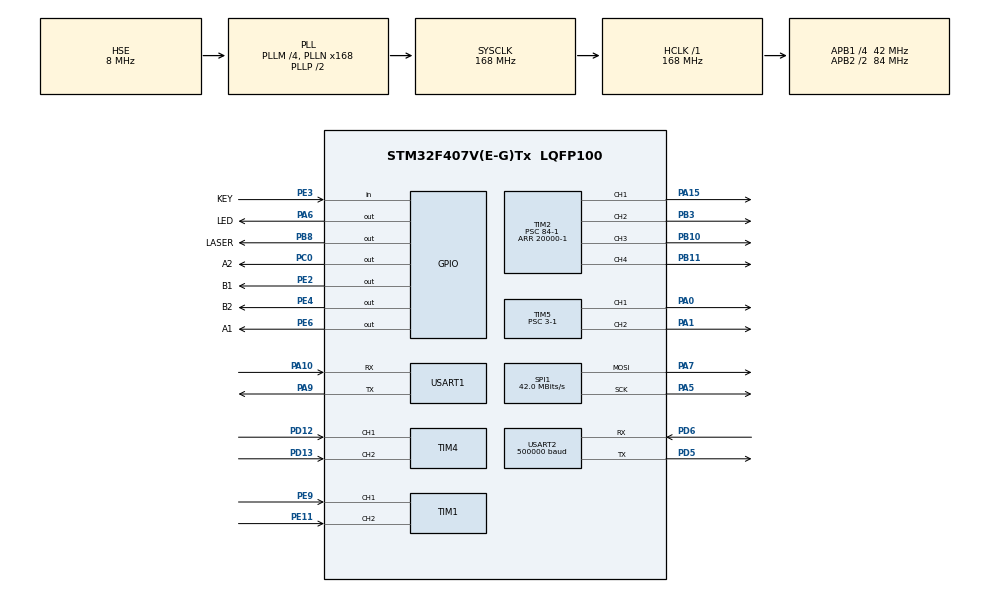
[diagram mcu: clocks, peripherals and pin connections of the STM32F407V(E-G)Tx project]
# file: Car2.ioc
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Dma.Request0=USART1_RX
Dma.Request1=USART1_TX
Dma.Request2=USART2_RX
Dma.Request3=USART2_TX
Dma.USART1_RX.0.Direction=DMA_PERIPH_TO_MEMORY
Dma.USART1_RX.0.FIFOMode=DMA_FIFOMODE_DISABLE
Dma.USART1_RX.0.Instance=DMA2_Stream2
Dma.USART1_RX.0.MemDataAlignment=DMA_MDATAALIGN_BYTE
Dma.USART1_RX.0.MemInc=DMA_MINC_ENABLE
Dma.USART1_RX.0.Mode=DMA_NORMAL
Dma.USART1_RX.0.PeriphDataAlignment=DMA_PDATAALIGN_BYTE
Dma.USART1_RX.0.PeriphInc=DMA_PINC_DISABLE
Dma.USART1_RX.0.Priority=DMA_PRIORITY_LOW
Dma.USART1_TX.1.Direction=DMA_MEMORY_TO_PERIPH
Dma.USART1_TX.1.FIFOMode=DMA_FIFOMODE_DISABLE
Dma.USART1_TX.1.Instance=DMA2_Stream7
Dma.USART1_TX.1.MemDataAlignment=DMA_MDATAALIGN_BYTE
Dma.USART1_TX.1.MemInc=DMA_MINC_ENABLE
Dma.USART1_TX.1.Mode=DMA_NORMAL
Dma.USART1_TX.1.PeriphDataAlignment=DMA_PDATAALIGN_BYTE
Dma.USART1_TX.1.PeriphInc=DMA_PINC_DISABLE
Dma.USART1_TX.1.Priority=DMA_PRIORITY_LOW
Dma.USART2_RX.2.Direction=DMA_PERIPH_TO_MEMORY
Dma.USART2_RX.2.FIFOMode=DMA_FIFOMODE_DISABLE
Dma.USART2_RX.2.Instance=DMA1_Stream5
Dma.USART2_RX.2.MemDataAlignment=DMA_MDATAALIGN_BYTE
Dma.USART2_RX.2.MemInc=DMA_MINC_ENABLE
Dma.USART2_RX.2.Mode=DMA_NORMAL
Dma.USART2_RX.2.PeriphDataAlignment=DMA_PDATAALIGN_BYTE
Dma.USART2_RX.2.PeriphInc=DMA_PINC_DISABLE
Dma.USART2_RX.2.Priority=DMA_PRIORITY_LOW
Dma.USART2_TX.3.Direction=DMA_MEMORY_TO_PERIPH
Dma.USART2_TX.3.FIFOMode=DMA_FIFOMODE_DISABLE
Dma.USART2_TX.3.Instance=DMA1_Stream6
Dma.USART2_TX.3.MemDataAlignment=DMA_MDATAALIGN_BYTE
Dma.USART2_TX.3.MemInc=DMA_MINC_ENABLE
Dma.USART2_TX.3.Mode=DMA_NORMAL
Dma.USART2_TX.3.PeriphDataAlignment=DMA_PDATAALIGN_BYTE
Dma.USART2_TX.3.PeriphInc=DMA_PINC_DISABLE
Dma.USART2_TX.3.Priority=DMA_PRIORITY_LOW
Mcu.Family=STM32F4
Mcu.Name=STM32F407V(E-G)Tx
Mcu.Package=LQFP100
NVIC.DMA1_Stream5_IRQn=true\:0\:0\:false\:false\:true\:false\:true\:true
NVIC.DMA1_Stream6_IRQn=true\:0\:0\:false\:false\:true\:false\:true\:true
NVIC.DMA2_Stream2_IRQn=true\:1\:0\:true\:false\:true\:false\:true\:true
NVIC.DMA2_Stream7_IRQn=true\:1\:0\:true\:false\:true\:false\:true\:true
NVIC.PriorityGroup=NVIC_PRIORITYGROUP_4
NVIC.TIM8_TRG_COM_TIM14_IRQn=true\:0\:0\:false\:false\:true\:true\:true\:true
NVIC.USART1_IRQn=true\:2\:0\:true\:false\:true\:true\:true\:true
NVIC.USART2_IRQn=true\:0\:0\:false\:false\:true\:true\:true\:true
PA0-WKUP.Signal=S_TIM5_CH1
PA1.Signal=S_TIM5_CH2
PA10.Mode=Asynchronous
PA10.Signal=USART1_RX
PA13.Mode=Serial_Wire
PA13.Signal=SYS_JTMS-SWDIO
PA14.Mode=Serial_Wire
PA14.Signal=SYS_JTCK-SWCLK
PA15.Signal=S_TIM2_CH1_ETR
PA5.Mode=TX_Only_Simplex_Unidirect_Master
PA5.Signal=SPI1_SCK
PA6.GPIO_Label=LED
PA6.GPIO_ModeDefaultOutputPP=GPIO_MODE_OUTPUT_PP
PA6.GPIO_PuPd=GPIO_NOPULL
PA6.PinState=GPIO_PIN_RESET
PA6.Signal=GPIO_Output
PA7.Mode=TX_Only_Simplex_Unidirect_Master
PA7.Signal=SPI1_MOSI
PA9.Mode=Asynchronous
PA9.Signal=USART1_TX
PB10.Signal=S_TIM2_CH3
PB11.Signal=S_TIM2_CH4
PB3.Signal=S_TIM2_CH2
PB8.GPIO_Label=LASER
PB8.Signal=GPIO_Output
PC0.GPIO_Label=A2
PC0.Signal=GPIO_Output
PD12.Signal=S_TIM4_CH1
PD13.Signal=S_TIM4_CH2
PD5.Mode=Asynchronous
PD5.Signal=USART2_TX
PD6.Mode=Asynchronous
PD6.Signal=USART2_RX
PE11.Signal=S_TIM1_CH2
PE2.GPIO_Label=B1
PE2.Signal=GPIO_Output
PE3.GPIO_Label=KEY
PE3.GPIO_PuPd=GPIO_PULLUP
PE3.Signal=GPIO_Input
PE4.GPIO_Label=B2
PE4.Signal=GPIO_Output
PE6.GPIO_Label=A1
PE6.Signal=GPIO_Output
PE9.Signal=S_TIM1_CH1
PH0-OSC_IN.Mode=HSE-External-Oscillator
PH0-OSC_IN.Signal=RCC_OSC_IN
PH1-OSC_OUT.Mode=HSE-External-Oscillator
PH1-OSC_OUT.Signal=RCC_OSC_OUT
ProjectManager.HeapSize=0x400
ProjectManager.StackSize=0x800
ProjectManager.TargetToolchain=MDK-ARM V5.32
RCC.48MHZClocksFreq_Value=48000000
RCC.AHBFreq_Value=168000000
RCC.APB1CLKDivider=RCC_HCLK_DIV4
RCC.APB1Freq_Value=42000000
RCC.APB1TimFreq_Value=84000000
RCC.APB2CLKDivider=RCC_HCLK_DIV2
RCC.APB2Freq_Value=84000000
RCC.APB2TimFreq_Value=168000000
RCC.CortexFreq_Value=168000000
RCC.HCLKFreq_Value=168000000
RCC.HSE_VALUE=8000000
RCC.HSI_VALUE=16000000
RCC.LSE_VALUE=32768
RCC.PLLM=4
RCC.PLLN=168
RCC.PLLQ=7
RCC.PLLSourceVirtual=RCC_PLLSOURCE_HSE
RCC.SYSCLKFreq_VALUE=168000000
RCC.SYSCLKSource=RCC_SYSCLKSOURCE_PLLCLK
RCC.VCOOutputFreq_Value=336000000
SH.S_TIM1_CH1.0=TIM1_CH1,Encoder_Interface
SH.S_TIM1_CH2.0=TIM1_CH2,Encoder_Interface
SH.S_TIM2_CH1_ETR.0=TIM2_CH1,PWM Generation1 CH1
SH.S_TIM2_CH2.0=TIM2_CH2,PWM Generation2 CH2
SH.S_TIM2_CH3.0=TIM2_CH3,PWM Generation3 CH3
SH.S_TIM2_CH4.0=TIM2_CH4,PWM Generation4 CH4
SH.S_TIM4_CH1.0=TIM4_CH1,Encoder_Interface
SH.S_TIM4_CH2.0=TIM4_CH2,Encoder_Interface
SH.S_TIM5_CH1.0=TIM5_CH1,PWM Generation1 CH1
SH.S_TIM5_CH2.0=TIM5_CH2,PWM Generation2 CH2
SPI1.BaudRatePrescaler=SPI_BAUDRATEPRESCALER_2
SPI1.CalculateBaudRate=42.0 MBits/s
SPI1.Direction=SPI_DIRECTION_2LINES
SPI1.Mode=SPI_MODE_MASTER
SPI1.VirtualType=VM_MASTER
TIM14.Period=1000-1
TIM14.Prescaler=84-1
TIM2.Channel-PWM\ Generation1\ CH1=TIM_CHANNEL_1
TIM2.Channel-PWM\ Generation2\ CH2=TIM_CHANNEL_2
TIM2.Channel-PWM\ Generation3\ CH3=TIM_CHANNEL_3
TIM2.Channel-PWM\ Generation4\ CH4=TIM_CHANNEL_4
TIM2.Period=20000-1
TIM2.Prescaler=84-1
TIM5.Channel-PWM\ Generation1\ CH1=TIM_CHANNEL_1
TIM5.Channel-PWM\ Generation2\ CH2=TIM_CHANNEL_2
TIM5.Period=2000-1
TIM5.Prescaler=3-1
USART1.VirtualMode=VM_ASYNC
USART2.BaudRate=500000
USART2.VirtualMode=VM_ASYNC
VP_TIM14_VS_ClockSourceINT.Mode=Enable_Timer
VP_TIM2_VS_ClockSourceINT.Mode=Internal
VP_TIM5_VS_ClockSourceINT.Mode=Internal
board=custom

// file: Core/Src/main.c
/* USER CODE BEGIN Header */
/**
 ******************************************************************************
 * @file           : main.c
 * @brief          : Main program body
 ******************************************************************************
 * @attention
 *
 * Copyright (c) 2023 STMicroelectronics.
 * All rights reserved.
 *
 * This software is licensed under terms that can be found in the LICENSE file
 * in the root directory of this software component.
 * If no LICENSE file comes with this software, it is provided AS-IS.
 *
 ******************************************************************************
 */
/* USER CODE END Header */
#include "main.h"

#include "dma.h"
#include "gpio.h"
#include "spi.h"
#include "tim.h"
#include "usart.h"

/* USER CODE BEGIN Includes */
#include "User_Com.h"
#include "Wireless_Com.h"
#include "key.h"
#include "led.h"
#include "log.h"
#include "motor.h"
#include "perf_counter.h"
#include "pid.h"
#include "scheduler.h"
#include "stdlib.h"
#include "uart_pack.h"

/* USER CODE END Includes */

void SystemClock_Config(void);
/* USER CODE BEGIN PFP */
void Add_Tasks(void);
void Uart_Callback(char *buf, uint16_t len);
void Uart2_Callback(char *buf, uint16_t len);

/* USER CODE END PFP */

/* USER CODE BEGIN 0 */
uart_dma_ctrl_t uart;
uart_dma_ctrl_t uart2;

motor_t motor_l = {
    .timEncoder = &htim4,
    .timPWM = &htim5,
    .pwmChannel = TIM_CHANNEL_2,
    .forwardGPIOx = B2_GPIO_Port,
    .forwardGPIOpin = B2_Pin,
    .reverseGPIOx = A2_GPIO_Port,
    .reverseGPIOpin = A2_Pin,
    .encoderReverse = 1,
    .spdPID =
        {
            .base = 0,
            .proportion = 0.4,
            .integral = 4,
            .derivative = 0,
            .Ts = 0.01,
        },
    .posPID =
        {
            .base = 0,
            .proportion = 3,
            .integral = 0,
            .derivative = 0.1,
            .Ts = 0.01,
        },
};

motor_t motor_r = {
    .timEncoder = &htim1,
    .timPWM = &htim5,
    .pwmChannel = TIM_CHANNEL_1,
    .forwardGPIOx = A1_GPIO_Port,
    .forwardGPIOpin = A1_Pin,
    .reverseGPIOx = B1_GPIO_Port,
    .reverseGPIOpin = B1_Pin,
    .encoderReverse = 0,
    .spdPID =
        {
            .base = 0,
            .proportion = 0.4,
            .integral = 4,
            .derivative = 0,
            .Ts = 0.01,
        },
    .posPID =
        {
            .base = 0,
            .proportion = 3,
            .integral = 0,
            .derivative = 0.1,
            .Ts = 0.01,
        },
};

const uint32_t FORWARD_MIDVALUE = 1400;

/* USER CODE END 0 */

int main(void) {

  /* MCU Configuration--------------------------------------------------------*/

  /* Reset of all peripherals, Initializes the Flash interface and the Systick.
   */
  HAL_Init();

  /* Configure the system clock */
  SystemClock_Config();

  /* Initialize all configured peripherals */
  MX_GPIO_Init();
  MX_DMA_Init();
  MX_SPI1_Init();
  MX_TIM1_Init();
  MX_USART1_UART_Init();
  MX_USART2_UART_Init();
  MX_TIM2_Init();
  MX_TIM4_Init();
  MX_TIM5_Init();
  MX_TIM14_Init();
  /* USER CODE BEGIN 2 */
  LED(1);
  Init_Module_Timebase();
  Uart_DMA_Init(&uart, &huart1, Uart_Callback, 1);
  Uart_DMA_Init(&uart2, &huart2, Uart2_Callback, 1);
  Motor_Setup(&motor_l);
  Motor_Setup(&motor_r);
  LED(0);
  LOG_ENDL();
  LOG_I("-- System Boot --");
  LOG_I("System Boot");
  LOG_D("SYSCLK: %d", HAL_RCC_GetSysClockFreq());

  /* USER CODE END 2 */

  /* Infinite loop */
  /* USER CODE BEGIN WHILE */
  HAL_TIM_Base_Start_IT(&htim14);
  HAL_TIM_Base_Start_IT(&htim2);
  __HAL_TIM_SET_COMPARE(&htim2, TIM_CHANNEL_3, FORWARD_MIDVALUE);
  __HAL_TIM_SET_COMPARE(&htim2, TIM_CHANNEL_4, FORWARD_MIDVALUE);
  HAL_TIM_PWM_Start(&htim2, TIM_CHANNEL_1);
  HAL_TIM_PWM_Start(&htim2, TIM_CHANNEL_2);
  HAL_TIM_PWM_Start(&htim2, TIM_CHANNEL_3);
  HAL_TIM_PWM_Start(&htim2, TIM_CHANNEL_4);

  Add_Tasks();
  Scheduler_Run(1);
  while (1) {
    /* USER CODE END WHILE */

  }
}

void SystemClock_Config(void) {
  RCC_OscInitTypeDef RCC_OscInitStruct = {0};
  RCC_ClkInitTypeDef RCC_ClkInitStruct = {0};

  /** Configure the main internal regulator output voltage
   */
  __HAL_RCC_PWR_CLK_ENABLE();
  __HAL_PWR_VOLTAGESCALING_CONFIG(PWR_REGULATOR_VOLTAGE_SCALE1);

  /** Initializes the RCC Oscillators according to the specified parameters
   * in the RCC_OscInitTypeDef structure.
   */
  RCC_OscInitStruct.OscillatorType = RCC_OSCILLATORTYPE_HSE;
  RCC_OscInitStruct.HSEState = RCC_HSE_ON;
  RCC_OscInitStruct.PLL.PLLState = RCC_PLL_ON;
  RCC_OscInitStruct.PLL.PLLSource = RCC_PLLSOURCE_HSE;
  RCC_OscInitStruct.PLL.PLLM = 4;
  RCC_OscInitStruct.PLL.PLLN = 168;
  RCC_OscInitStruct.PLL.PLLP = RCC_PLLP_DIV2;
  RCC_OscInitStruct.PLL.PLLQ = 7;
  if (HAL_RCC_OscConfig(&RCC_OscInitStruct) != HAL_OK) {
    Error_Handler();
  }

  /** Initializes the CPU, AHB and APB buses clocks
   */
  RCC_ClkInitStruct.ClockType = RCC_CLOCKTYPE_HCLK | RCC_CLOCKTYPE_SYSCLK |
                                RCC_CLOCKTYPE_PCLK1 | RCC_CLOCKTYPE_PCLK2;
  RCC_ClkInitStruct.SYSCLKSource = RCC_SYSCLKSOURCE_PLLCLK;
  RCC_ClkInitStruct.AHBCLKDivider = RCC_SYSCLK_DIV1;
  RCC_ClkInitStruct.APB1CLKDivider = RCC_HCLK_DIV4;
  RCC_ClkInitStruct.APB2CLKDivider = RCC_HCLK_DIV2;

  if (HAL_RCC_ClockConfig(&RCC_ClkInitStruct, FLASH_LATENCY_5) != HAL_OK) {
    Error_Handler();
  }
}

/* USER CODE BEGIN 4 */

void Uart_Callback(char *buf, uint16_t len) {
  for (uint16_t i = 0; i < len; i++) {
    Uart_Wireless_GetOneByte(buf[i]);
  }
}
void Uart2_Callback(char *buf, uint16_t len) {
  UserCom_GetBuffer((uint8_t *)buf, len);
}
void Task_Alive(void) { LED(0x02); }

void Task_Key_Func(void) {
  uint16_t key_value = key_read_value();
  if (key_value == KEY_SHORT(0)) {
    UserCom_SendEvent(USER_EVENT_KEY_SHORT, USER_EVENT_OP_SET);
  } else if (key_value == KEY_DOUBLE(0)) {
    UserCom_SendEvent(USER_EVENT_KEY_DOUBLE, USER_EVENT_OP_SET);
  } else if (key_value == KEY_HOLD(0)) {
    UserCom_SendEvent(USER_EVENT_KEY_LONG, USER_EVENT_OP_SET);
  }
}

void Add_Tasks(void) {
  Add_SchTask(Task_Key_Func, 50, 1);         // id:0
  Add_SchTask(key_check_all, 100, 1);        // id:1
  Add_SchTask(Task_Alive, 256, 1);           // id:2
  Add_SchTask(Uart_Callback_Check, 500, 1);  // id:3
  // Add_SchTask(UserCom_Task, 200, 1);         // id:4
  // Set_SchTask_HighPriority(4);
  LOG_D("Added %d tasks", Get_SchTask_Num());
}

void HAL_TIM_PeriodElapsedCallback(TIM_HandleTypeDef *htim) {
  static uint8_t tim14_cnt = 0;
  if (htim->Instance == TIM14) {  // 1ms
    UserCom_Task();
    tim14_cnt++;
    Motor_Encoder_Tick(&motor_l, 1000.0f);
    Motor_Encoder_Tick(&motor_r, 1000.0f);
    if (tim14_cnt == 10) {  // 10ms
      tim14_cnt = 0;
      Motor_Run(&motor_l);
      Motor_Run(&motor_r);
    }
  }
}

/* USER CODE END 4 */

void Error_Handler(void) {
  __disable_irq();
  while (1) {
  }
}

#ifdef USE_FULL_ASSERT
/**
 * @brief  Reports the name of the source file and the source line number
 *         where the assert_param error has occurred.
 * @param  file: pointer to the source file name
 * @param  line: assert_param error line source number
 * @retval None
 */
void assert_failed(uint8_t *file, uint32_t line) {
  /* USER CODE BEGIN 6 */
  /* User can add his own implementation to report the file name and line
     number, ex: printf("Wrong parameters value: file %s on line %d\r\n", file,
     line) */
  /* USER CODE END 6 */
}
#endif /* USE_FULL_ASSERT */
